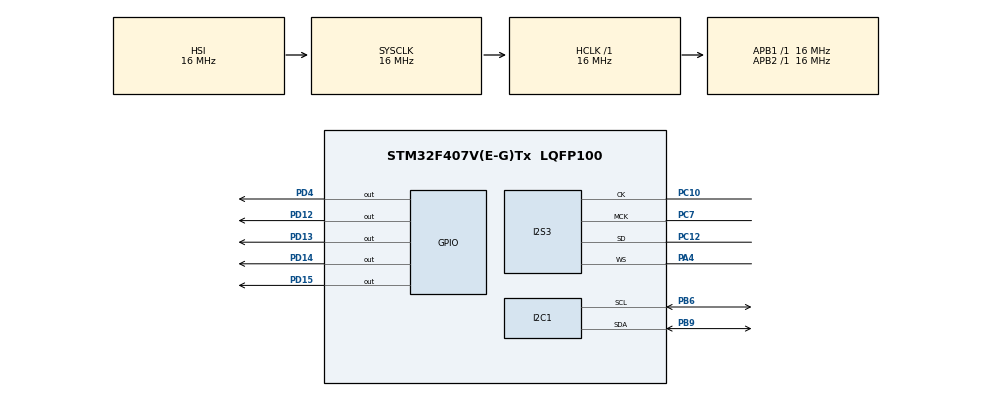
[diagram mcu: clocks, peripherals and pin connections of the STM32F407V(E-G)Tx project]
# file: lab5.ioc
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Dma.Request0=SPI3_TX
Dma.SPI3_TX.0.Direction=DMA_MEMORY_TO_PERIPH
Dma.SPI3_TX.0.FIFOMode=DMA_FIFOMODE_ENABLE
Dma.SPI3_TX.0.FIFOThreshold=DMA_FIFO_THRESHOLD_FULL
Dma.SPI3_TX.0.Instance=DMA1_Stream5
Dma.SPI3_TX.0.MemBurst=DMA_MBURST_SINGLE
Dma.SPI3_TX.0.MemDataAlignment=DMA_MDATAALIGN_HALFWORD
Dma.SPI3_TX.0.MemInc=DMA_MINC_ENABLE
Dma.SPI3_TX.0.Mode=DMA_CIRCULAR
Dma.SPI3_TX.0.PeriphBurst=DMA_PBURST_SINGLE
Dma.SPI3_TX.0.PeriphDataAlignment=DMA_PDATAALIGN_HALFWORD
Dma.SPI3_TX.0.PeriphInc=DMA_PINC_DISABLE
Dma.SPI3_TX.0.Priority=DMA_PRIORITY_LOW
I2S3.AudioFreq=I2S_AUDIOFREQ_48K
I2S3.ErrorAudioFreq=-2.34 %
I2S3.FullDuplexMode=I2S_FULLDUPLEXMODE_DISABLE
I2S3.Instance=SPI$Index
I2S3.RealAudioFreq=46.875 KHz
I2S3.VirtualMode=I2S_MODE_MASTER
Mcu.Family=STM32F4
Mcu.Name=STM32F407V(E-G)Tx
Mcu.Package=LQFP100
NVIC.DMA1_Stream5_IRQn=true\:0\:0\:false\:false\:true\:false\:true\:true
NVIC.PriorityGroup=NVIC_PRIORITYGROUP_4
PA4.Mode=Half_Duplex_Master
PA4.Signal=I2S3_WS
PB6.Mode=I2C
PB6.Signal=I2C1_SCL
PB9.Mode=I2C
PB9.Signal=I2C1_SDA
PC10.Mode=Half_Duplex_Master
PC10.Signal=I2S3_CK
PC12.Mode=Half_Duplex_Master
PC12.Signal=I2S3_SD
PC7.Mode=Master_Clock_Activated
PC7.Signal=I2S3_MCK
PD12.Signal=GPIO_Output
PD13.Signal=GPIO_Output
PD14.Signal=GPIO_Output
PD15.Signal=GPIO_Output
PD4.Signal=GPIO_Output
ProjectManager.HeapSize=0x200
ProjectManager.StackSize=0x400
ProjectManager.TargetToolchain=STM32CubeIDE
RCC.AHBFreq_Value=16000000
RCC.APB1Freq_Value=16000000
RCC.APB2Freq_Value=16000000
RCC.CortexFreq_Value=16000000
RCC.HSE_VALUE=25000000
RCC.HSI_VALUE=16000000
RCC.LSE_VALUE=32768
RCC.SYSCLKFreq_VALUE=16000000
RCC.VCOOutputFreq_Value=192000000
board=custom

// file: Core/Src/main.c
/* USER CODE BEGIN Header */
/**
  ******************************************************************************
  * @file           : main.c
  * @brief          : Main program body
  ******************************************************************************
  * @attention
  *
  * Copyright (c) 2024 STMicroelectronics.
  * All rights reserved.
  *
  * This software is licensed under terms that can be found in the LICENSE file
  * in the root directory of this software component.
  * If no LICENSE file comes with this software, it is provided AS-IS.
  *
  ******************************************************************************
  */
/* USER CODE END Header */
#include "main.h"

/* USER CODE BEGIN PTD */

typedef enum
{
    C4, D4, E4, F4, G4, A4, B4,
    C5, D5, E5, F5, G5, A5, B5,
    C6, D6, E6, F6, G6, A6, B6,
    C7,
    MAX_VALUE
} soundToneType;

/* USER CODE END PTD */

/* USER CODE BEGIN PD */

#define CS43L22_I2C_ADDRESS		0x94
#define I2C_TIMEOUT				10

/* USER CODE END PD */

I2C_HandleTypeDef hi2c1;

I2S_HandleTypeDef hi2s3;
DMA_HandleTypeDef hdma_spi3_tx;

/* USER CODE BEGIN PV */

int16_t dataI2S[100] = {0};

/* USER CODE END PV */

void SystemClock_Config(void);
static void MX_GPIO_Init(void);
static void MX_DMA_Init(void);
static void MX_I2C1_Init(void);
static void MX_I2S3_Init(void);

/* USER CODE BEGIN 0 */

void CS43L22_Init(void)
{
	// Enable chip
	HAL_GPIO_WritePin(GPIOD, GPIO_PIN_4, GPIO_PIN_SET);

	//
	// Initialization
	//
	uint8_t TxBuffer[2];

	TxBuffer[0] = 0x0D;
	TxBuffer[1] = 0x01;
	HAL_I2C_Master_Transmit(&hi2c1, CS43L22_I2C_ADDRESS, (uint8_t*) &TxBuffer, 2, I2C_TIMEOUT);

	TxBuffer[0] = 0x00;
	TxBuffer[1] = 0x99;
	HAL_I2C_Master_Transmit(&hi2c1, CS43L22_I2C_ADDRESS, (uint8_t*) &TxBuffer, 2, I2C_TIMEOUT);

	TxBuffer[0] = 0x47;
	TxBuffer[1] = 0x80;
	HAL_I2C_Master_Transmit(&hi2c1, CS43L22_I2C_ADDRESS, (uint8_t*) &TxBuffer, 2, I2C_TIMEOUT);

	TxBuffer[0] = 0x32;
	TxBuffer[1] = 0xFF;
	HAL_I2C_Master_Transmit(&hi2c1, CS43L22_I2C_ADDRESS, (uint8_t*) &TxBuffer, 2, I2C_TIMEOUT);

	TxBuffer[0] = 0x32;
	TxBuffer[1] = 0x7F;
	HAL_I2C_Master_Transmit(&hi2c1, CS43L22_I2C_ADDRESS, (uint8_t*) &TxBuffer, 2, I2C_TIMEOUT);

	TxBuffer[0] = 0x00;
	TxBuffer[1] = 0x00;
	HAL_I2C_Master_Transmit(&hi2c1, CS43L22_I2C_ADDRESS, (uint8_t*) &TxBuffer, 2, I2C_TIMEOUT);

	TxBuffer[0] = 0x04;
	TxBuffer[1] = 0xAF;
	HAL_I2C_Master_Transmit(&hi2c1, CS43L22_I2C_ADDRESS, (uint8_t*) &TxBuffer, 2, I2C_TIMEOUT);

	TxBuffer[0] = 0x0D;
	TxBuffer[1] = 0x70;
	HAL_I2C_Master_Transmit(&hi2c1, CS43L22_I2C_ADDRESS, (uint8_t*) &TxBuffer, 2, I2C_TIMEOUT);

	TxBuffer[0] = 0x05;
	TxBuffer[1] = 0x81;
	HAL_I2C_Master_Transmit(&hi2c1, CS43L22_I2C_ADDRESS, (uint8_t*) &TxBuffer, 2, I2C_TIMEOUT);

	TxBuffer[0] = 0x06;
	TxBuffer[1] = 0x07;
	HAL_I2C_Master_Transmit(&hi2c1, CS43L22_I2C_ADDRESS, (uint8_t*) &TxBuffer, 2, I2C_TIMEOUT);

	TxBuffer[0] = 0x0A;
	TxBuffer[1] = 0x00;
	HAL_I2C_Master_Transmit(&hi2c1, CS43L22_I2C_ADDRESS, (uint8_t*) &TxBuffer, 2, I2C_TIMEOUT);

	TxBuffer[0] = 0x27;
	TxBuffer[1] = 0x00;
	HAL_I2C_Master_Transmit(&hi2c1, CS43L22_I2C_ADDRESS, (uint8_t*) &TxBuffer, 2, I2C_TIMEOUT);

	TxBuffer[0] = 0x1A;
	TxBuffer[1] = 0x0A;
	HAL_I2C_Master_Transmit(&hi2c1, CS43L22_I2C_ADDRESS, (uint8_t*) &TxBuffer, 2, I2C_TIMEOUT);

	TxBuffer[0] = 0x1B;
	TxBuffer[1] = 0x0A;
	HAL_I2C_Master_Transmit(&hi2c1, CS43L22_I2C_ADDRESS, (uint8_t*) &TxBuffer, 2, I2C_TIMEOUT);

	TxBuffer[0] = 0x1F;
	TxBuffer[1] = 0x0F;
	HAL_I2C_Master_Transmit(&hi2c1, CS43L22_I2C_ADDRESS, (uint8_t*) &TxBuffer, 2, I2C_TIMEOUT);

	TxBuffer[0] = 0x02;
	TxBuffer[1] = 0x9E;
	HAL_I2C_Master_Transmit(&hi2c1, CS43L22_I2C_ADDRESS, (uint8_t*) &TxBuffer, 2, I2C_TIMEOUT);
}

void CS43L22_Beep(soundToneType pitch, uint32_t duration_ms)
{
	uint8_t TxBuffer[2];

	// Set volume and off time
	TxBuffer[0] = 0x1D;		// Register address
	TxBuffer[1] = 0x00;		// Value (volume and off time)
	HAL_I2C_Master_Transmit(&hi2c1, CS43L22_I2C_ADDRESS, (uint8_t*) &TxBuffer, 2, I2C_TIMEOUT);

	// Set sound frequency
	TxBuffer[0] = 0x1C;		// Register address

    switch (pitch)
    {
        case C4:
            TxBuffer[1] = 0x00;     // Value (frequency and on time)
            break;
        case C5:
            TxBuffer[1] = 0x01;
            break;
        case D5:
            TxBuffer[1] = 0x02;
            break;
        case E5:
            TxBuffer[1] = 0x03;
            break;
        case F5:
            TxBuffer[1] = 0x04;
            break;
        case G5:
            TxBuffer[1] = 0x05;
            break;
        case A5:
            TxBuffer[1] = 0x06;
            break;
        case B5:
            TxBuffer[1] = 0x07;
            break;
        case C6:
            TxBuffer[1] = 0x08;
            break;
        case D6:
            TxBuffer[1] = 0x09;
            break;
        case E6:
            TxBuffer[1] = 0x0A;
            break;
        case F6:
            TxBuffer[1] = 0x0B;
            break;
        case G6:
            TxBuffer[1] = 0x0C;
            break;
        case A6:
            TxBuffer[1] = 0x0D;
            break;
        case B6:
            TxBuffer[1] = 0x0E;
            break;
        case C7:
            TxBuffer[1] = 0x0F;
            break;
        default:
            TxBuffer[1] = 0x00;
            break;
    }
	HAL_I2C_Master_Transmit(&hi2c1, CS43L22_I2C_ADDRESS, (uint8_t*) &TxBuffer, 2, I2C_TIMEOUT);

	// Enable continuous mode (SOUND STARTED)
	TxBuffer[0] = 0x1E;		// Register address
	TxBuffer[1] = 0xC0;		// Value (beep and tone configuration)
	HAL_I2C_Master_Transmit(&hi2c1, CS43L22_I2C_ADDRESS, (uint8_t*) &TxBuffer, 2, I2C_TIMEOUT);

	HAL_Delay(duration_ms);

	// Disable continuous mode (SOUND STOPED)
	TxBuffer[0] = 0x1E;		// Register address
	TxBuffer[1] = 0x00;		// Value (beep and tone configuration)
	HAL_I2C_Master_Transmit(&hi2c1, CS43L22_I2C_ADDRESS, (uint8_t*) &TxBuffer, 2, I2C_TIMEOUT);
}

void PlayMelody(void)
{
    soundToneType melody[] = {C4, E4, G4, C5, G4, E4, C4};
    uint32_t noteDurations[] = {1000, 500, 500, 1000, 500, 500, 1000};

    for (int loop = 0; loop < 3; loop++)
    {
        for (int i = 0; i < sizeof(melody)/sizeof(melody[0]); i++)
        {
            CS43L22_Beep(melody[i], noteDurations[i]);

            switch (i % 4)
            {
                case 0:
                    HAL_GPIO_WritePin(GPIOD, GPIO_PIN_12, GPIO_PIN_SET);
                    HAL_GPIO_WritePin(GPIOD, GPIO_PIN_13, GPIO_PIN_RESET);
                    HAL_GPIO_WritePin(GPIOD, GPIO_PIN_14, GPIO_PIN_RESET);
                    HAL_GPIO_WritePin(GPIOD, GPIO_PIN_15, GPIO_PIN_RESET);
                    break;
                case 1:
                    HAL_GPIO_WritePin(GPIOD, GPIO_PIN_12, GPIO_PIN_RESET);
                    HAL_GPIO_WritePin(GPIOD, GPIO_PIN_13, GPIO_PIN_SET);
                    HAL_GPIO_WritePin(GPIOD, GPIO_PIN_14, GPIO_PIN_RESET);
                    HAL_GPIO_WritePin(GPIOD, GPIO_PIN_15, GPIO_PIN_RESET);
                    break;
                case 2:
                    HAL_GPIO_WritePin(GPIOD, GPIO_PIN_12, GPIO_PIN_RESET);
                    HAL_GPIO_WritePin(GPIOD, GPIO_PIN_13, GPIO_PIN_RESET);
                    HAL_GPIO_WritePin(GPIOD, GPIO_PIN_14, GPIO_PIN_SET);
                    HAL_GPIO_WritePin(GPIOD, GPIO_PIN_15, GPIO_PIN_RESET);
                    break;
                case 3:
                    HAL_GPIO_WritePin(GPIOD, GPIO_PIN_12, GPIO_PIN_RESET);
                    HAL_GPIO_WritePin(GPIOD, GPIO_PIN_13, GPIO_PIN_RESET);
                    HAL_GPIO_WritePin(GPIOD, GPIO_PIN_14, GPIO_PIN_RESET);
                    HAL_GPIO_WritePin(GPIOD, GPIO_PIN_15, GPIO_PIN_SET);
                    break;
            }
            HAL_Delay(100);
        }
    }

    HAL_GPIO_WritePin(GPIOD, GPIO_PIN_12, GPIO_PIN_RESET);
    HAL_GPIO_WritePin(GPIOD, GPIO_PIN_13, GPIO_PIN_RESET);
    HAL_GPIO_WritePin(GPIOD, GPIO_PIN_14, GPIO_PIN_RESET);
    HAL_GPIO_WritePin(GPIOD, GPIO_PIN_15, GPIO_PIN_RESET);
}

/* USER CODE END 0 */

int main(void)
{

  /* MCU Configuration--------------------------------------------------------*/

  /* Reset of all peripherals, Initializes the Flash interface and the Systick. */
  HAL_Init();

  /* Configure the system clock */
  SystemClock_Config();

  /* Initialize all configured peripherals */
  MX_GPIO_Init();
  MX_DMA_Init();
  MX_I2C1_Init();
  MX_I2S3_Init();
  /* USER CODE BEGIN 2 */

  // Init DAC
  CS43L22_Init();

  // Transmit empty data
  HAL_I2S_Transmit_DMA(&hi2s3, (uint16_t *)dataI2S, 100);

  /* USER CODE END 2 */

  /* Infinite loop */
  /* USER CODE BEGIN WHILE */
  while (1)
  {
      PlayMelody();
      HAL_Delay(10000);

    /* USER CODE END WHILE */

  }
}

void SystemClock_Config(void)
{
  RCC_OscInitTypeDef RCC_OscInitStruct = {0};
  RCC_ClkInitTypeDef RCC_ClkInitStruct = {0};

  /** Macro to configure the PLL multiplication factor
  */
  __HAL_RCC_PLL_PLLM_CONFIG(16);

  /** Macro to configure the PLL clock source
  */
  __HAL_RCC_PLL_PLLSOURCE_CONFIG(RCC_PLLSOURCE_HSI);

  /** Configure the main internal regulator output voltage
  */
  __HAL_RCC_PWR_CLK_ENABLE();
  __HAL_PWR_VOLTAGESCALING_CONFIG(PWR_REGULATOR_VOLTAGE_SCALE1);

  /** Initializes the RCC Oscillators according to the specified parameters
  * in the RCC_OscInitTypeDef structure.
  */
  RCC_OscInitStruct.OscillatorType = RCC_OSCILLATORTYPE_HSI;
  RCC_OscInitStruct.HSIState = RCC_HSI_ON;
  RCC_OscInitStruct.HSICalibrationValue = RCC_HSICALIBRATION_DEFAULT;
  RCC_OscInitStruct.PLL.PLLState = RCC_PLL_NONE;
  RCC_OscInitStruct.PLL.PLLSource = RCC_PLLSOURCE_HSI;
  if (HAL_RCC_OscConfig(&RCC_OscInitStruct) != HAL_OK)
  {
    Error_Handler();
  }

  /** Initializes the CPU, AHB and APB buses clocks
  */
  RCC_ClkInitStruct.ClockType = RCC_CLOCKTYPE_HCLK|RCC_CLOCKTYPE_SYSCLK
                              |RCC_CLOCKTYPE_PCLK1|RCC_CLOCKTYPE_PCLK2;
  RCC_ClkInitStruct.SYSCLKSource = RCC_SYSCLKSOURCE_HSI;
  RCC_ClkInitStruct.AHBCLKDivider = RCC_SYSCLK_DIV1;
  RCC_ClkInitStruct.APB1CLKDivider = RCC_HCLK_DIV1;
  RCC_ClkInitStruct.APB2CLKDivider = RCC_HCLK_DIV1;

  if (HAL_RCC_ClockConfig(&RCC_ClkInitStruct, FLASH_LATENCY_0) != HAL_OK)
  {
    Error_Handler();
  }
}

static void MX_I2C1_Init(void)
{

  hi2c1.Instance = I2C1;
  hi2c1.Init.ClockSpeed = 100000;
  hi2c1.Init.DutyCycle = I2C_DUTYCYCLE_2;
  hi2c1.Init.OwnAddress1 = 0;
  hi2c1.Init.AddressingMode = I2C_ADDRESSINGMODE_7BIT;
  hi2c1.Init.DualAddressMode = I2C_DUALADDRESS_DISABLE;
  hi2c1.Init.OwnAddress2 = 0;
  hi2c1.Init.GeneralCallMode = I2C_GENERALCALL_DISABLE;
  hi2c1.Init.NoStretchMode = I2C_NOSTRETCH_DISABLE;
  if (HAL_I2C_Init(&hi2c1) != HAL_OK)
  {
    Error_Handler();
  }

}

static void MX_I2S3_Init(void)
{

  hi2s3.Instance = SPI3;
  hi2s3.Init.Mode = I2S_MODE_MASTER_TX;
  hi2s3.Init.Standard = I2S_STANDARD_PHILIPS;
  hi2s3.Init.DataFormat = I2S_DATAFORMAT_16B;
  hi2s3.Init.MCLKOutput = I2S_MCLKOUTPUT_ENABLE;
  hi2s3.Init.AudioFreq = I2S_AUDIOFREQ_48K;
  hi2s3.Init.CPOL = I2S_CPOL_LOW;
  hi2s3.Init.ClockSource = I2S_CLOCK_PLL;
  hi2s3.Init.FullDuplexMode = I2S_FULLDUPLEXMODE_DISABLE;
  if (HAL_I2S_Init(&hi2s3) != HAL_OK)
  {
    Error_Handler();
  }

}

static void MX_DMA_Init(void)
{

  /* DMA controller clock enable */
  __HAL_RCC_DMA1_CLK_ENABLE();

  /* DMA interrupt init */
  /* DMA1_Stream5_IRQn interrupt configuration */
  HAL_NVIC_SetPriority(DMA1_Stream5_IRQn, 0, 0);
  HAL_NVIC_EnableIRQ(DMA1_Stream5_IRQn);

}

static void MX_GPIO_Init(void)
{
  GPIO_InitTypeDef GPIO_InitStruct = {0};

  /* GPIO Ports Clock Enable */
  __HAL_RCC_GPIOA_CLK_ENABLE();
  __HAL_RCC_GPIOD_CLK_ENABLE();
  __HAL_RCC_GPIOC_CLK_ENABLE();
  __HAL_RCC_GPIOB_CLK_ENABLE();

  /*Configure GPIO pin Output Level */
  HAL_GPIO_WritePin(GPIOD, GPIO_PIN_12|GPIO_PIN_13|GPIO_PIN_14|GPIO_PIN_15
                          |GPIO_PIN_4, GPIO_PIN_RESET);

  /*Configure GPIO pins : PD12 PD13 PD14 PD15
                           PD4 */
  GPIO_InitStruct.Pin = GPIO_PIN_12|GPIO_PIN_13|GPIO_PIN_14|GPIO_PIN_15
                          |GPIO_PIN_4;
  GPIO_InitStruct.Mode = GPIO_MODE_OUTPUT_PP;
  GPIO_InitStruct.Pull = GPIO_NOPULL;
  GPIO_InitStruct.Speed = GPIO_SPEED_FREQ_LOW;
  HAL_GPIO_Init(GPIOD, &GPIO_InitStruct);

}

void Error_Handler(void)
{
  __disable_irq();
  while (1)
  {
  }
}
